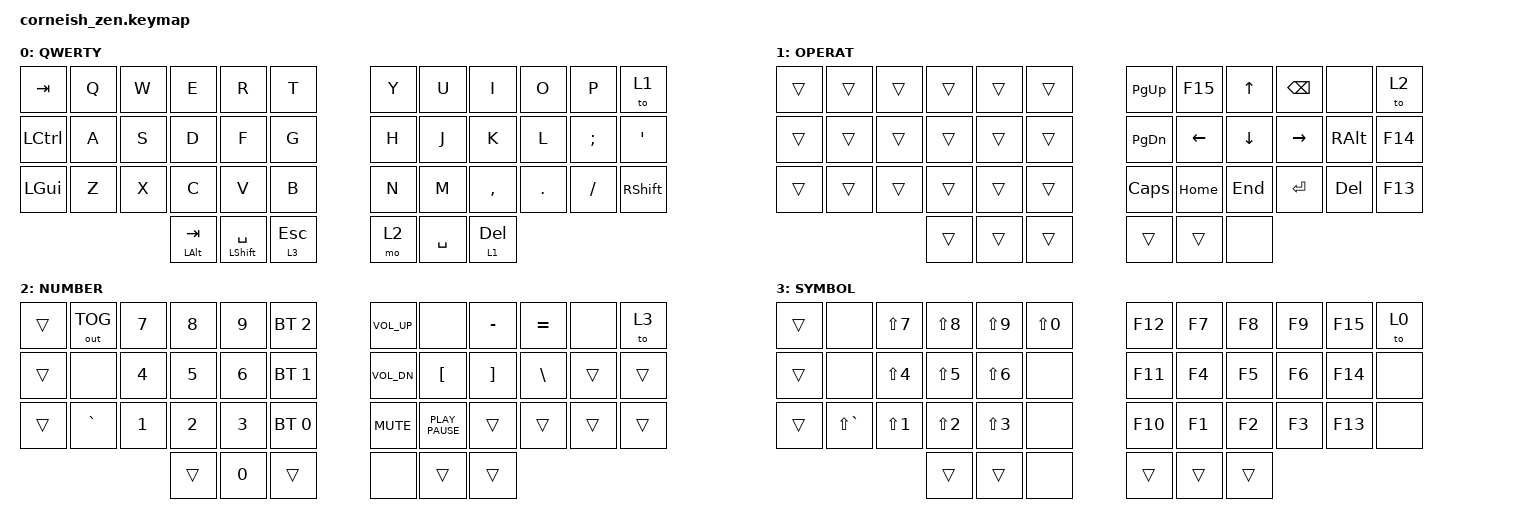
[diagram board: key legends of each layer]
/*
 * Copyright (c) 2020 The ZMK Contributors
 *
 * SPDX-License-Identifier: MIT
 */

#include <behaviors.dtsi>
#include <dt-bindings/zmk/bt.h>
#include <dt-bindings/zmk/keys.h>
#include <dt-bindings/zmk/outputs.h>

/ {
    chosen {
        zmk,matrix_transform = &default_transform;

        // zmk,matrix_transform = &five_column_transform;
    };
};

/ {
    behaviors {
        td0: td0 {
            compatible = "zmk,behavior-tap-dance";
            label = "TD0";
            #binding-cells = <0>;
            bindings = <&kp LEFT_SHIFT>, <&kp CAPS>;
        };
    };

    combos {
        compatible = "zmk,combos";

        jk {
            bindings = <&kp RALT>;
            key-positions = <19 20>;
        };
    };

    keymap {
        compatible = "zmk,keymap";

        default_layer {
            display-name = "QWERTY";

            // --------------------------------------------------------------------------------
            // |  TAB |  Q  |  W  |  E  |  R  |  T  |   |  Y  |  U   |  I  |  O  |  P  | BKSP |
            // | CTRL |  A  |  S  |  D  |  F  |  G  |   |  H  |  J   |  K  |  L  |  ;  |  '   | 
            // | SHFT |  Z  |  X  |  C  |  V  |  B  |   |  N  |  M   |  ,  |  .  |  /  | ESC  |
            //                    | GUI | LWR | SPC |   | ENT | RSE  | ALT |

            bindings = <
&kp TAB    &kp Q  &kp W  &kp E         &kp R             &kp T        &kp Y  &kp U      &kp I      &kp O    &kp P     &to 1
&kp LCTRL  &kp A  &kp S  &kp D         &kp F             &kp G        &kp H  &kp J      &kp K      &kp L    &kp SEMI  &kp SQT
&kp LGUI   &kp Z  &kp X  &kp C         &kp V             &kp B        &kp N  &kp M      &kp COMMA  &kp DOT  &kp FSLH  &kp RIGHT_SHIFT
                         &mt LALT TAB  &mt LSHIFT SPACE  &lt 3 ESC    &mo 2  &kp SPACE  &lt 1 DEL
            >;
        };

        operation_layer {
            display-name = "OPERAT";

            // -----------------------------------------------------------------------------------------
            // |  TAB |  1  |  2  |  3  |  4  |  5  |   |  6  |  7  |  8  |  9  |  0  | BKSP |
            // | BTCLR| BT1 | BT2 | BT3 | BT4 | BT5 |   | LFT | DWN |  UP | RGT |     |      |
            // | SHFT |     |     |     |     |     |   |     |     |     |     |     |      |
            //                    | GUI |     | SPC |   | ENT |     | ALT |

            bindings = <
&trans  &trans  &trans  &trans  &trans  &trans    &kp PAGE_UP    &kp F15         &kp UP_ARROW    &kp BACKSPACE  &none     &to 2
&trans  &trans  &trans  &trans  &trans  &trans    &kp PAGE_DOWN  &kp LEFT_ARROW  &kp DOWN_ARROW  &kp RIGHT      &kp RALT  &kp F14
&trans  &trans  &trans  &trans  &trans  &trans    &kp CAPS       &kp HOME        &kp END         &kp ENTER      &kp DEL   &kp F13
                        &trans  &trans  &trans    &trans         &trans          &none
            >;
        };

        number_layer {
            display-name = "NUMBER";

            // -----------------------------------------------------------------------------------------
            // |  TAB |  !  |  @  |  #  |  $  |  %  |   |  ^  |  &  |  *  |  (  |  )  | BKSP |
            // | CTRL |     |     |     |     |     |   |  -  |  =  |  [  |  ]  |  \  |  `   |
            // | SHFT |     |     |     |     |     |   |  _  |  +  |  {  |  }  | "|" |  ~   |
            //                    | GUI |     | SPC |   | ENT |     | ALT |

            bindings = <
&trans  &out OUT_TOG  &kp NUMBER_7  &kp NUMBER_8  &kp NUMBER_9  &bt BT_SEL 2    &kp C_VOLUME_UP  &none             &kp MINUS          &kp EQUAL  &none   &to 3
&trans  &none         &kp NUMBER_4  &kp NUMBER_5  &kp NUMBER_6  &bt BT_SEL 1    &kp C_VOL_DN     &kp LEFT_BRACKET  &kp RIGHT_BRACKET  &kp BSLH   &trans  &trans
&trans  &kp GRAVE     &kp NUMBER_1  &kp NUMBER_2  &kp NUMBER_3  &bt BT_SEL 0    &kp K_MUTE       &kp K_PLAY_PAUSE  &trans             &trans     &trans  &trans
                                    &trans        &kp NUMBER_0  &trans          &none            &trans            &trans
            >;
        };

        symbol_layer {
            display-name = "SYMBOL";
            bindings = <
&trans  &none          &kp LS(NUMBER_7)  &kp LS(NUMBER_8)  &kp LS(NUMBER_9)  &kp LS(NUMBER_0)    &kp F12  &kp F7  &kp F8  &kp F9  &kp F15  &to 0
&trans  &none          &kp LS(NUMBER_4)  &kp LS(NUMBER_5)  &kp LS(NUMBER_6)  &none               &kp F11  &kp F4  &kp F5  &kp F6  &kp F14  &none
&trans  &kp LS(GRAVE)  &kp LS(NUMBER_1)  &kp LS(NUMBER_2)  &kp LS(NUMBER_3)  &none               &kp F10  &kp F1  &kp F2  &kp F3  &kp F13  &none
                                         &trans            &trans            &none               &trans   &trans  &trans
            >;
        };
    };
};
